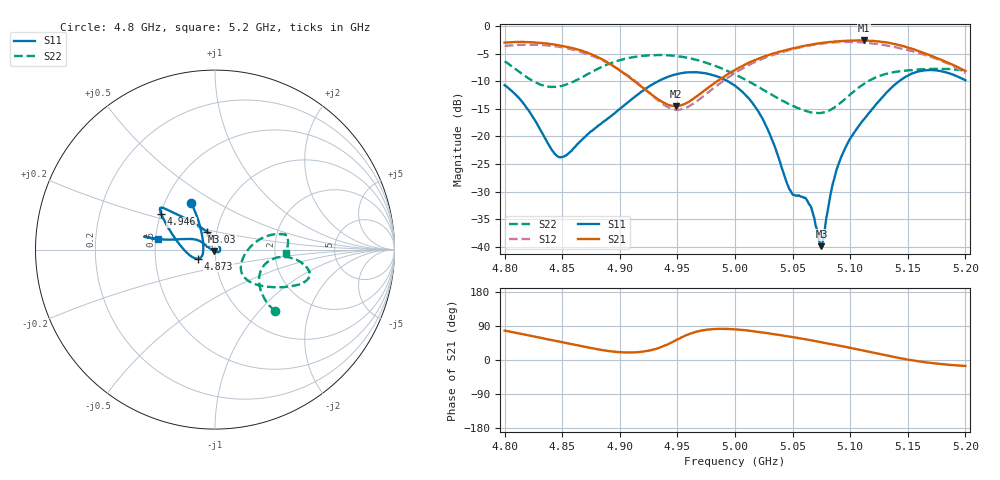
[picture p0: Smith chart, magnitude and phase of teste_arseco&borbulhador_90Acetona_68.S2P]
! Network Analyzer HP8722D
! Hewlett-Packard
! Data name: Linha & Wilkinson
! Saver's name: Rodrigo Anjos
! Comments: Teste da utilização de aquisição
! continua pelo VNA HP8722D
! Time and date: 17/4/2025 11:37
!  Frequency  S11  S21  S12  S22
# HZ  S  MA R 50
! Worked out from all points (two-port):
!   401 points, 4.8 GHz to 5.2 GHz, reference 50 ohm
!   highest |S21| = -2.59 dB at 5.112 GHz (marker M1); lowest = -14.5 dB at 4.949 GHz (marker M2)
!   |S21| within 3 dB of the highest: start of sweep to 4.881 GHz; 5.024 GHz to 5.173 GHz (149 MHz wide, 2.92 % of centre)
!   lowest |S11| = -39.9 dB at 5.075 GHz (marker M3), VSWR 1.02, Z = 49.5 - j0.867 ohm
!   |S11| at or under -10 dB: start of sweep to 4.933 GHz; 4.994 GHz to 5.142 GHz (148.6 MHz wide, 2.93 % of centre)
!   |S22| runs from -15.8 to -5.2 dB; largest |S21 - S12| = 1
!   S11 on the Smith chart (normalised r, x): 4.8 GHz: 0.68, +0.38; 4.873 GHz: 0.82, -0.08; 4.946 GHz: 0.50, +0.23; 5.03 GHz: 0.90, +0.18; 5.2 GHz: 0.52, +0.07
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4.8e9  0.2912 117.1  0.7086 77.4  0.6615 -16.0  0.4792 -45.8
4.817e9  0.1952 119.4  0.7179 67.4  0.6791 -23.5  0.3579 -43.0
4.846e9  0.066 167.7  0.6732 49.6  0.6528 -37.3  0.2832 -20.5
4.867e9  0.09316 -150.5  0.5976 36.3  0.579 -47.9  0.3436 -7.6
4.873e9  0.1065 -151.6  0.5671 32.8  0.5519 -51.0  0.3707 -6.4
4.902e9  0.1843 176.1  0.3851 20.5  0.3869 -62.7  0.4973 -9.2
4.934e9  0.3193 151.0  0.2147 31.9  0.2096 -55.8  0.5465 -15.7
4.946e9  0.3594 146.7  0.1891 47.9  0.1769 -39.5  0.5403 -18.3
4.949e9  0.3667 145.7  0.1882 52.9  0.175 -34.5  0.5349 -19.2
4.975e9  0.3727 141.4  0.2679 79.8  0.2427 -2.4  0.466 -26.2
5e9  0.2886 137.1  0.4006 80.7  0.3773 3.4  0.3649 -34.6
5.017e9  0.1898 128.5  0.4915 75.6  0.4704 0.3  0.2944 -40.8
5.03e9  0.1064 114.0  0.5502 69.8  0.5351 -3.9  0.2449 -43.4
5.048e9  0.03243 46.1  0.6206 61.4  0.61 -10.9  0.194 -40.6
5.067e9  0.02123 -43.7  0.6828 51.4  0.6762 -20.2  0.1644 -26.4
5.075e9  0.01012 -120.1  0.7036 46.9  0.6936 -24.7  0.1634 -16.0
5.084e9  0.03367 163.7  0.7208 41.6  0.7096 -30.1  0.1769 -3.4
5.09e9  0.05665 155.2  0.7296 38.2  0.7147 -33.9  0.1953 3.8
5.112e9  0.143 156.0  0.7418 24.6  0.7101 -48.1  0.3 14.6
5.134e9  0.2653 167.8  0.7028 10.4  0.6598 -61.3  0.3755 13.3
5.163e9  0.3954 169.6  0.5756 -5.1  0.5557 -74.5  0.4059 11.2
5.2e9  0.3228 169.3  0.392 -15.8  0.3773 -84.3  0.3952 -2.5
